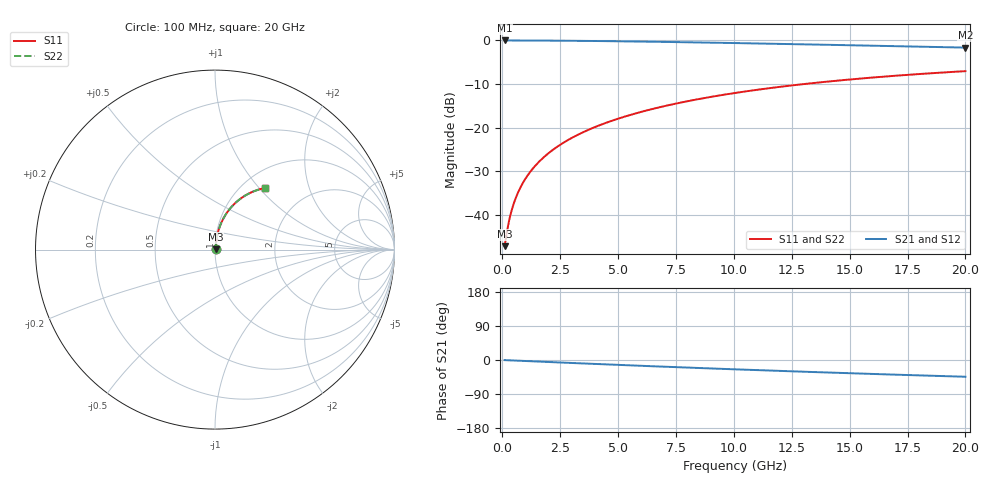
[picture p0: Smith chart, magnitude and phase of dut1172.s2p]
! Touchstone file exported from HFSS 2024.1.0
!  File:  C:/UserFiles/LocalFiles/RDL_TSV_Batchsim/temp_RDL_bottom_1172_1780056910.aedt
!  Generated:  08:17:37 PM May 29, 2026
!  Design:  RDL_bottom
!  Project:  temp_RDL_bottom_1172_1780056910
!  Setup:  Setup1
!  Solution:  Sweep
! Variables:
!  dtsv = 10.80580581um
!  hbump = 3um
!  htsv = 74.77um
!  ldown = 608.65um
!  lrdl = 100um
!  p = 40
!  p1 = 48.78um
!  rhole = 1um
!  t = 450um
!  tdown = 4.06um
!  trdl = 3.915915916um
!  wdown = 15.96um
!  wrdl = 20um
# GHz S MA R 50.000000
! Terminal data exported
! Port[1] = RDL1_T1
! Port[2] = RDL1_T2
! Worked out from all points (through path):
!   200 points, 100 MHz to 20 GHz, reference 50 ohm
!   highest |S21| = -0.03 dB at 100 MHz (marker M1); lowest = -1.7 dB at 20 GHz (marker M2)
!   group delay of S21, straight-line fit = 6.12 ps
!   lowest |S11| = -47.2 dB at 100 MHz (marker M3), VSWR 1.01, Z = 50.3 + j0.269 ohm
!   |S11| at or under -10 dB: start of sweep to 13.08 GHz
!   |S22| runs from -47.2 to -7.1 dB; largest |S21 - S12| = 4.1e-15
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0.1  0.004356 37.9  0.9966 -0.3  0.9966 -0.3  0.004356 37.9
! Gamma 0 0 0 0
! Port Impedance 50 0 50 0
0.2  0.006391 56.2  0.9964 -0.5  0.9964 -0.5  0.006391 56.2
0.3  0.008724 64.9  0.9963 -0.8  0.9963 -0.8  0.008724 64.9
0.4  0.01113 69.7  0.9961 -1.1  0.9961 -1.1  0.01113 69.7
0.5  0.01357 72.7  0.996 -1.3  0.996 -1.3  0.01357 72.7
0.6  0.01602 74.9  0.9958 -1.6  0.9958 -1.6  0.01602 74.9
0.8  0.02093 77.6  0.9955 -2.1  0.9955 -2.1  0.02093 77.6
1.1  0.02836 79.7  0.9949 -2.9  0.9949 -2.9  0.02836 79.7
1.5  0.03833 81.1  0.9939 -4.0  0.9939 -4.0  0.03833 81.1
1.8  0.04584 81.5  0.993 -4.8  0.993 -4.8  0.04584 81.5
2.1  0.05337 81.6  0.992 -5.5  0.992 -5.5  0.05337 81.6
2.7  0.06845 81.5  0.9895 -7.1  0.9895 -7.1  0.06845 81.5
3.5  0.08857 80.8  0.9854 -9.1  0.9854 -9.1  0.08857 80.7
4.2  0.1062 79.8  0.9811 -10.9  0.9811 -10.9  0.1062 79.8
5  0.1262 78.6  0.9756 -12.9  0.9756 -12.9  0.1262 78.6
5.9  0.1487 77.2  0.9686 -15.1  0.9686 -15.1  0.1487 77.1
6.8  0.171 75.6  0.9611 -17.2  0.9611 -17.2  0.171 75.6
8.4  0.2099 72.6  0.9465 -20.9  0.9465 -20.9  0.2099 72.6
10.1  0.2501 69.3  0.9299 -24.7  0.9299 -24.7  0.2501 69.3
13.4  0.3229 62.9  0.8956 -31.7  0.8956 -31.7  0.3229 62.9
16.7  0.3875 56.7  0.8603 -38.2  0.8603 -38.2  0.3874 56.6
20  0.4431 50.8  0.8253 -44.2  0.8253 -44.2  0.443 50.8
